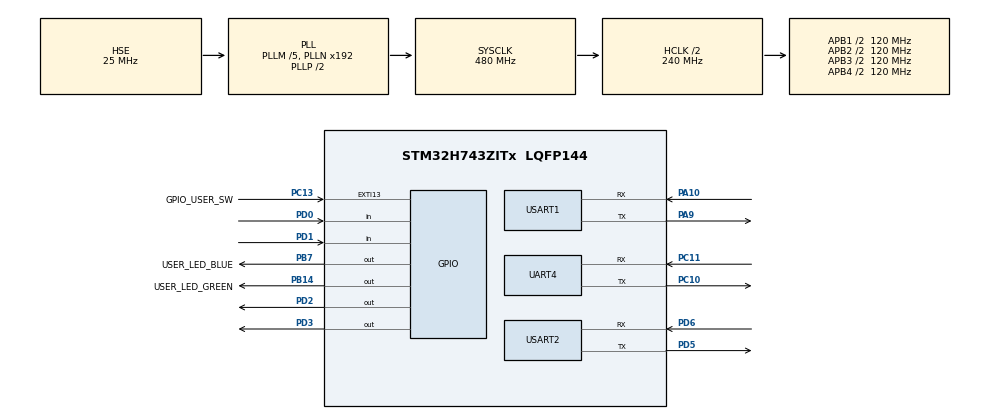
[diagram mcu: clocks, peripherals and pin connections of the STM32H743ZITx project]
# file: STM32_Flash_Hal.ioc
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CORTEX_M7.default_mode_Activation=1
IWDG1.Prescaler=IWDG_PRESCALER_64
IWDG1.Reload=4000
IWDG1.Window=4000
Mcu.Family=STM32H7
Mcu.Name=STM32H743ZITx
Mcu.Package=LQFP144
NVIC.PriorityGroup=NVIC_PRIORITYGROUP_4
PA10.GPIO_Speed=GPIO_SPEED_FREQ_VERY_HIGH
PA10.Mode=Asynchronous
PA10.Signal=USART1_RX
PA13\ (JTMS/SWDIO).Signal=DEBUG_JTMS-SWDIO
PA14\ (JTCK/SWCLK).Signal=DEBUG_JTCK-SWCLK
PA9.GPIO_Speed=GPIO_SPEED_FREQ_VERY_HIGH
PA9.Mode=Asynchronous
PA9.Signal=USART1_TX
PB14.GPIO_Label=USER_LED_GREEN
PB14.Signal=GPIO_Output
PB7.GPIO_Label=USER_LED_BLUE
PB7.Signal=GPIO_Output
PC10.GPIO_Speed=GPIO_SPEED_FREQ_VERY_HIGH
PC10.Mode=Asynchronous
PC10.Signal=UART4_TX
PC11.GPIO_Speed=GPIO_SPEED_FREQ_VERY_HIGH
PC11.Mode=Asynchronous
PC11.Signal=UART4_RX
PC13.GPIO_Label=GPIO_USER_SW
PC13.Signal=GPXTI13
PD0.Signal=GPIO_Input
PD1.Signal=GPIO_Input
PD2.Signal=GPIO_Output
PD3.Signal=GPIO_Output
PD5.GPIO_Speed=GPIO_SPEED_FREQ_VERY_HIGH
PD5.Mode=Asynchronous
PD5.Signal=USART2_TX
PD6.GPIO_Speed=GPIO_SPEED_FREQ_VERY_HIGH
PD6.Mode=Asynchronous
PD6.Signal=USART2_RX
PD8.Signal=USART3_TX
PD9.Signal=USART3_RX
PH0-OSC_IN\ (PH0).Mode=HSE-External-Oscillator
PH0-OSC_IN\ (PH0).Signal=RCC_OSC_IN
PH1-OSC_OUT\ (PH1).Mode=HSE-External-Oscillator
PH1-OSC_OUT\ (PH1).Signal=RCC_OSC_OUT
ProjectManager.HeapSize=0x200
ProjectManager.StackSize=0x400
ProjectManager.TargetToolchain=STM32CubeIDE
RCC.ADCFreq_Value=50390625
RCC.APB1Freq_Value=120000000
RCC.APB2Freq_Value=120000000
RCC.APB3Freq_Value=120000000
RCC.APB4Freq_Value=120000000
RCC.CortexFreq_Value=480000000
RCC.D1PPRE=RCC_APB3_DIV2
RCC.D2PPRE1=RCC_APB1_DIV2
RCC.D2PPRE2=RCC_APB2_DIV2
RCC.D3PPRE=RCC_APB4_DIV2
RCC.DIVM1=5
RCC.DIVN1=192
RCC.HCLKFreq_Value=240000000
RCC.HPRE=RCC_HCLK_DIV2
RCC.HSE_VALUE=25000000
RCC.PLLFRACN=0
RCC.PLLSourceVirtual=RCC_PLLSOURCE_HSE
RCC.SYSCLKFreq_VALUE=480000000
RCC.SYSCLKSource=RCC_SYSCLKSOURCE_PLLCLK
RCC.USBFreq_Value=480000000
USART1.VirtualMode-Asynchronous=VM_ASYNC
USART2.VirtualMode-Asynchronous=VM_ASYNC
VP_IWDG1_VS_IWDG.Mode=IWDG_Activate
VP_MEMORYMAP_VS_MEMORYMAP.Mode=CurAppReg
board=custom

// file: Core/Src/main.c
/* USER CODE BEGIN Header */
/**
  ******************************************************************************
  * @file           : main.c
  * @brief          : LED blink @100us + printf test  (HSI 64 MHz)
  ******************************************************************************
  *
  *  TEST BUILD
  *  - SystemClock = HSI 64 MHz (no PLL, no HSE)
  *  - delay_us() uses DWT cycle counter + SystemCoreClock (auto-scales to clock)
  *  - LED PB7 / PB14 toggle every 100 us  -> 5 kHz square wave (check on scope)
  *  - printf over UART4 @115200 (SystemCoreClock feeds baud, so 64 MHz is fine)
  *
  *  If printf shows garbage: baud mismatch -> confirm terminal = 115200.
  *  If printf is silent:      wrong UART4 pins or _write not linked.
  ******************************************************************************
  */
/* USER CODE END Header */
#include "main.h"

/* USER CODE BEGIN Includes */
#include <stdio.h>
#include <string.h>
#include "flash_counter.h"        // <<< เพิ่ม
/* USER CODE END Includes */

IWDG_HandleTypeDef hiwdg1;

UART_HandleTypeDef huart4;
UART_HandleTypeDef huart1;
UART_HandleTypeDef huart2;

/* USER CODE BEGIN PV */
UART_HandleTypeDef *debug_uart;
/* USER CODE END PV */

void SystemClock_Config(void);
static void MPU_Config(void);
static void MX_GPIO_Init(void);
static void MX_IWDG1_Init(void);
static void MX_UART4_Init(void);
static void MX_USART1_UART_Init(void);
static void MX_USART2_UART_Init(void);
/* USER CODE BEGIN PFP */
void delay_us(uint32_t us);
/* USER CODE END PFP */

/* USER CODE BEGIN 0 */
void dwt_init(void)
{
    CoreDebug->DEMCR |= CoreDebug_DEMCR_TRCENA_Msk;
    DWT->CYCCNT = 0;
    DWT->CTRL |= DWT_CTRL_CYCCNTENA_Msk;
}

void delay_us(uint32_t us)
{
    uint32_t start = DWT->CYCCNT;
    uint32_t ticks = us * (SystemCoreClock / 1000000U);   /* auto-scales: 64 or 480 MHz */
    while ((DWT->CYCCNT - start) < ticks);
}
/* USER CODE END 0 */

int main(void)
{

  /* MPU Configuration--------------------------------------------------------*/
  MPU_Config();

  /* MCU Configuration--------------------------------------------------------*/

  /* Reset of all peripherals, Initializes the Flash interface and the Systick. */
  HAL_Init();

  /* USER CODE BEGIN Init */
  debug_uart = &huart4;
  /* USER CODE END Init */

  /* Configure the system clock */
  SystemClock_Config();

  /* USER CODE BEGIN SysInit */
  dwt_init();                 /* enable DWT cycle counter for delay_us */
  /* USER CODE END SysInit */

  /* Initialize all configured peripherals */
  MX_GPIO_Init();
  MX_IWDG1_Init();
  MX_UART4_Init();
  MX_USART1_UART_Init();
  MX_USART2_UART_Init();
  /* USER CODE BEGIN 2 */
  printf("\n=== LED blink 100us test ===\n");
  printf("SystemCoreClock = %lu Hz\n", SystemCoreClock);   /* expect 64000000 */
  /* USER CODE END 2 */

  /* Infinite loop */
  /* USER CODE BEGIN WHILE */
  flash_counter_init();

  while (1)
  {
      /* LED ON */
      HAL_IWDG_Refresh(&hiwdg1);       // <<< ต้องมี ไม่งั้นบอร์ดรีเซ็ตทุก 8 วิ

      flash_counter_poll();
  }
    /* USER CODE END WHILE */

    /* USER CODE BEGIN 3 */
  }

void SystemClock_Config(void)
{
  RCC_OscInitTypeDef RCC_OscInitStruct = {0};
  RCC_ClkInitTypeDef RCC_ClkInitStruct = {0};

  /** Supply configuration update enable
  */
  HAL_PWREx_ConfigSupply(PWR_LDO_SUPPLY);

  /** Configure the main internal regulator output voltage
  */
  __HAL_PWR_VOLTAGESCALING_CONFIG(PWR_REGULATOR_VOLTAGE_SCALE0);

  while(!__HAL_PWR_GET_FLAG(PWR_FLAG_VOSRDY)) {}

  /** Initializes the RCC Oscillators according to the specified parameters
  * in the RCC_OscInitTypeDef structure.
  */
  RCC_OscInitStruct.OscillatorType = RCC_OSCILLATORTYPE_LSI|RCC_OSCILLATORTYPE_HSE;
  RCC_OscInitStruct.HSEState = RCC_HSE_ON;
  RCC_OscInitStruct.LSIState = RCC_LSI_ON;
  RCC_OscInitStruct.PLL.PLLState = RCC_PLL_ON;
  RCC_OscInitStruct.PLL.PLLSource = RCC_PLLSOURCE_HSE;
  RCC_OscInitStruct.PLL.PLLM = 5;
  RCC_OscInitStruct.PLL.PLLN = 192;
  RCC_OscInitStruct.PLL.PLLP = 2;
  RCC_OscInitStruct.PLL.PLLQ = 2;
  RCC_OscInitStruct.PLL.PLLR = 2;
  RCC_OscInitStruct.PLL.PLLRGE = RCC_PLL1VCIRANGE_2;
  RCC_OscInitStruct.PLL.PLLVCOSEL = RCC_PLL1VCOWIDE;
  RCC_OscInitStruct.PLL.PLLFRACN = 0;
  if (HAL_RCC_OscConfig(&RCC_OscInitStruct) != HAL_OK)
  {
    Error_Handler();
  }

  /** Initializes the CPU, AHB and APB buses clocks
  */
  RCC_ClkInitStruct.ClockType = RCC_CLOCKTYPE_HCLK|RCC_CLOCKTYPE_SYSCLK
                              |RCC_CLOCKTYPE_PCLK1|RCC_CLOCKTYPE_PCLK2
                              |RCC_CLOCKTYPE_D3PCLK1|RCC_CLOCKTYPE_D1PCLK1;
  RCC_ClkInitStruct.SYSCLKSource = RCC_SYSCLKSOURCE_PLLCLK;
  RCC_ClkInitStruct.SYSCLKDivider = RCC_SYSCLK_DIV1;
  RCC_ClkInitStruct.AHBCLKDivider = RCC_HCLK_DIV2;
  RCC_ClkInitStruct.APB3CLKDivider = RCC_APB3_DIV2;
  RCC_ClkInitStruct.APB1CLKDivider = RCC_APB1_DIV2;
  RCC_ClkInitStruct.APB2CLKDivider = RCC_APB2_DIV2;
  RCC_ClkInitStruct.APB4CLKDivider = RCC_APB4_DIV2;

  if (HAL_RCC_ClockConfig(&RCC_ClkInitStruct, FLASH_LATENCY_4) != HAL_OK)
  {
    Error_Handler();
  }
}

static void MX_IWDG1_Init(void)
{

  hiwdg1.Instance = IWDG1;
  hiwdg1.Init.Prescaler = IWDG_PRESCALER_64;
  hiwdg1.Init.Window = 4000;
  hiwdg1.Init.Reload = 4000;
  if (HAL_IWDG_Init(&hiwdg1) != HAL_OK)
  {
    Error_Handler();
  }

}

static void MX_UART4_Init(void)
{

  huart4.Instance = UART4;
  huart4.Init.BaudRate = 115200;
  huart4.Init.WordLength = UART_WORDLENGTH_8B;
  huart4.Init.StopBits = UART_STOPBITS_1;
  huart4.Init.Parity = UART_PARITY_NONE;
  huart4.Init.Mode = UART_MODE_TX_RX;
  huart4.Init.HwFlowCtl = UART_HWCONTROL_NONE;
  huart4.Init.OverSampling = UART_OVERSAMPLING_16;
  huart4.Init.OneBitSampling = UART_ONE_BIT_SAMPLE_DISABLE;
  huart4.Init.ClockPrescaler = UART_PRESCALER_DIV1;
  huart4.AdvancedInit.AdvFeatureInit = UART_ADVFEATURE_NO_INIT;
  if (HAL_UART_Init(&huart4) != HAL_OK)
  {
    Error_Handler();
  }
  if (HAL_UARTEx_SetTxFifoThreshold(&huart4, UART_TXFIFO_THRESHOLD_1_8) != HAL_OK)
  {
    Error_Handler();
  }
  if (HAL_UARTEx_SetRxFifoThreshold(&huart4, UART_RXFIFO_THRESHOLD_1_8) != HAL_OK)
  {
    Error_Handler();
  }
  if (HAL_UARTEx_DisableFifoMode(&huart4) != HAL_OK)
  {
    Error_Handler();
  }

}

static void MX_USART1_UART_Init(void)
{

  huart1.Instance = USART1;
  huart1.Init.BaudRate = 115200;
  huart1.Init.WordLength = UART_WORDLENGTH_8B;
  huart1.Init.StopBits = UART_STOPBITS_1;
  huart1.Init.Parity = UART_PARITY_NONE;
  huart1.Init.Mode = UART_MODE_TX_RX;
  huart1.Init.HwFlowCtl = UART_HWCONTROL_NONE;
  huart1.Init.OverSampling = UART_OVERSAMPLING_16;
  huart1.Init.OneBitSampling = UART_ONE_BIT_SAMPLE_DISABLE;
  huart1.Init.ClockPrescaler = UART_PRESCALER_DIV1;
  huart1.AdvancedInit.AdvFeatureInit = UART_ADVFEATURE_NO_INIT;
  if (HAL_UART_Init(&huart1) != HAL_OK)
  {
    Error_Handler();
  }
  if (HAL_UARTEx_SetTxFifoThreshold(&huart1, UART_TXFIFO_THRESHOLD_1_8) != HAL_OK)
  {
    Error_Handler();
  }
  if (HAL_UARTEx_SetRxFifoThreshold(&huart1, UART_RXFIFO_THRESHOLD_1_8) != HAL_OK)
  {
    Error_Handler();
  }
  if (HAL_UARTEx_DisableFifoMode(&huart1) != HAL_OK)
  {
    Error_Handler();
  }

}

static void MX_USART2_UART_Init(void)
{

  huart2.Instance = USART2;
  huart2.Init.BaudRate = 115200;
  huart2.Init.WordLength = UART_WORDLENGTH_8B;
  huart2.Init.StopBits = UART_STOPBITS_1;
  huart2.Init.Parity = UART_PARITY_NONE;
  huart2.Init.Mode = UART_MODE_TX_RX;
  huart2.Init.HwFlowCtl = UART_HWCONTROL_NONE;
  huart2.Init.OverSampling = UART_OVERSAMPLING_16;
  huart2.Init.OneBitSampling = UART_ONE_BIT_SAMPLE_DISABLE;
  huart2.Init.ClockPrescaler = UART_PRESCALER_DIV1;
  huart2.AdvancedInit.AdvFeatureInit = UART_ADVFEATURE_NO_INIT;
  if (HAL_UART_Init(&huart2) != HAL_OK)
  {
    Error_Handler();
  }
  if (HAL_UARTEx_SetTxFifoThreshold(&huart2, UART_TXFIFO_THRESHOLD_1_8) != HAL_OK)
  {
    Error_Handler();
  }
  if (HAL_UARTEx_SetRxFifoThreshold(&huart2, UART_RXFIFO_THRESHOLD_1_8) != HAL_OK)
  {
    Error_Handler();
  }
  if (HAL_UARTEx_DisableFifoMode(&huart2) != HAL_OK)
  {
    Error_Handler();
  }

}

static void MX_GPIO_Init(void)
{
  GPIO_InitTypeDef GPIO_InitStruct = {0};

  /* GPIO Ports Clock Enable */
  __HAL_RCC_GPIOC_CLK_ENABLE();
  __HAL_RCC_GPIOH_CLK_ENABLE();
  __HAL_RCC_GPIOB_CLK_ENABLE();
  __HAL_RCC_GPIOD_CLK_ENABLE();
  __HAL_RCC_GPIOA_CLK_ENABLE();

  /*Configure GPIO pin Output Level */
  HAL_GPIO_WritePin(GPIOB, USER_LED_GREEN_Pin|USER_LED_BLUE_Pin, GPIO_PIN_RESET);

  /*Configure GPIO pin Output Level */
  HAL_GPIO_WritePin(GPIOD, GPIO_PIN_2|GPIO_PIN_3, GPIO_PIN_RESET);

  /*Configure GPIO pin : GPIO_USER_SW_Pin */
  GPIO_InitStruct.Pin = GPIO_USER_SW_Pin;
  GPIO_InitStruct.Mode = GPIO_MODE_IT_RISING;
  GPIO_InitStruct.Pull = GPIO_NOPULL;
  HAL_GPIO_Init(GPIO_USER_SW_GPIO_Port, &GPIO_InitStruct);

  /*Configure GPIO pins : USER_LED_GREEN_Pin USER_LED_BLUE_Pin */
  GPIO_InitStruct.Pin = USER_LED_GREEN_Pin|USER_LED_BLUE_Pin;
  GPIO_InitStruct.Mode = GPIO_MODE_OUTPUT_PP;
  GPIO_InitStruct.Pull = GPIO_NOPULL;
  GPIO_InitStruct.Speed = GPIO_SPEED_FREQ_LOW;
  HAL_GPIO_Init(GPIOB, &GPIO_InitStruct);

  /*Configure GPIO pins : PD8 PD9 */
  GPIO_InitStruct.Pin = GPIO_PIN_8|GPIO_PIN_9;
  GPIO_InitStruct.Mode = GPIO_MODE_AF_PP;
  GPIO_InitStruct.Pull = GPIO_NOPULL;
  GPIO_InitStruct.Speed = GPIO_SPEED_FREQ_LOW;
  GPIO_InitStruct.Alternate = GPIO_AF7_USART3;
  HAL_GPIO_Init(GPIOD, &GPIO_InitStruct);

  /*Configure GPIO pin : PD0 */
  GPIO_InitStruct.Pin = GPIO_PIN_0;
  GPIO_InitStruct.Mode = GPIO_MODE_INPUT;
  GPIO_InitStruct.Pull = GPIO_NOPULL;
  HAL_GPIO_Init(GPIOD, &GPIO_InitStruct);

  /*Configure GPIO pin : PD1 = สวิตช์นับ */
  GPIO_InitStruct.Pin = GPIO_PIN_1;
  GPIO_InitStruct.Mode = GPIO_MODE_INPUT;
  GPIO_InitStruct.Pull = GPIO_PULLDOWN;      // <<< สำคัญ กันขาลอย
  HAL_GPIO_Init(GPIOD, &GPIO_InitStruct);

}

/* USER CODE BEGIN 4 */
int _write(int file, char *ptr, int len)
{
    HAL_UART_Transmit(debug_uart, (uint8_t *)ptr, len, HAL_MAX_DELAY);
    return len;
}
/* USER CODE END 4 */

 /* MPU Configuration */

void MPU_Config(void)
{
  MPU_Region_InitTypeDef MPU_InitStruct = {0};

  /* Disables the MPU */
  HAL_MPU_Disable();

  /** Initializes and configures the Region and the memory to be protected
  */
  MPU_InitStruct.Enable = MPU_REGION_ENABLE;
  MPU_InitStruct.Number = MPU_REGION_NUMBER0;
  MPU_InitStruct.BaseAddress = 0x0;
  MPU_InitStruct.Size = MPU_REGION_SIZE_4GB;
  MPU_InitStruct.SubRegionDisable = 0x87;
  MPU_InitStruct.TypeExtField = MPU_TEX_LEVEL0;
  MPU_InitStruct.AccessPermission = MPU_REGION_NO_ACCESS;
  MPU_InitStruct.DisableExec = MPU_INSTRUCTION_ACCESS_DISABLE;
  MPU_InitStruct.IsShareable = MPU_ACCESS_SHAREABLE;
  MPU_InitStruct.IsCacheable = MPU_ACCESS_NOT_CACHEABLE;
  MPU_InitStruct.IsBufferable = MPU_ACCESS_NOT_BUFFERABLE;

  HAL_MPU_ConfigRegion(&MPU_InitStruct);
  /* Enables the MPU */
  HAL_MPU_Enable(MPU_PRIVILEGED_DEFAULT);

}

void Error_Handler(void)
{
  __disable_irq();
  while (1)
  {
  }
}
